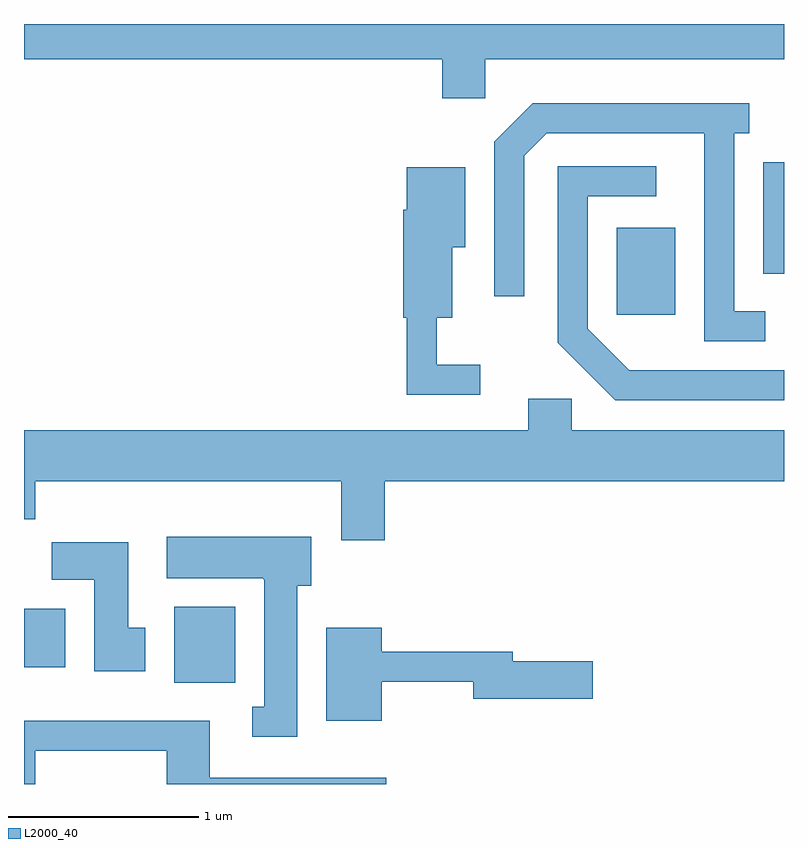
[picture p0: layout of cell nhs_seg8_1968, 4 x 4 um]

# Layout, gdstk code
import gdstk
lib = gdstk.Library(unit=1e-6, precision=1e-09)
def R(c, l, rs):  # rectangles x0, y0, x1, y1
    for r in rs: c.add(gdstk.rectangle(r[:2], r[2:], *l))
def P(c, l, *ps):  # polygons
    for p in ps: c.add(gdstk.Polygon(p, *l))
L2000_40 = (2000, 40)

nhs_seg8_1968 = lib.new_cell('nhs_seg8_1968')
R(nhs_seg8_1968, L2000_40, [(244.401,1870.876,244.724,1871.274), (243.611,1870.956,243.829,1871.264), (246.731,1872.811,247.039,1873.269), (247.501,1873.028,247.611,1873.614)])
P(nhs_seg8_1968, L2000_40, [(246.039,1874.156),(247.611,1874.156),(247.611,1874.342),(243.611,1874.342),(243.611,1874.156),(245.811,1874.156),(245.811,1873.951),(246.039,1873.951)],
  [(247.513,1872.829),(247.349,1872.829),(247.349,1873.766),(247.428,1873.766),(247.428,1873.924),(246.289,1873.924),(246.086,1873.722),(246.086,1872.908),(246.244,1872.908),(246.244,1873.649),(246.362,1873.766),(247.191,1873.766),(247.191,1872.671),(247.513,1872.671)],
  [(247.611,1872.519),(246.797,1872.519),(246.579,1872.737),(246.579,1873.436),(246.938,1873.436),(246.938,1873.594),(246.421,1873.594),(246.421,1872.664),(246.724,1872.361),(247.611,1872.361)],
  [(246.013,1872.549),(245.784,1872.549),(245.784,1872.796),(245.864,1872.796),(245.864,1873.166),(245.934,1873.166),(245.934,1873.589),(245.626,1873.589),(245.626,1873.364),(245.606,1873.364),(245.606,1872.796),(245.626,1872.796),(245.626,1872.391),(246.013,1872.391)],
  [(245.509,1871.936),(247.611,1871.936),(247.611,1872.204),(246.494,1872.204),(246.494,1872.369),(246.266,1872.369),(246.266,1872.204),(243.611,1872.204),(243.611,1871.736),(243.669,1871.736),(243.669,1871.936),(245.281,1871.936),(245.281,1871.626),(245.509,1871.626)],
  [(245.049,1871.386),(245.124,1871.386),(245.124,1871.644),(244.361,1871.644),(244.361,1871.426),(244.87,1871.426),(244.87,1871.42),(244.876,1871.42),(244.876,1870.749),(244.813,1870.749),(244.813,1870.591),(245.049,1870.591)],
  [(244.249,1871.164),(244.159,1871.164),(244.159,1871.614),(243.756,1871.614),(243.756,1871.416),(243.981,1871.416),(243.981,1870.936),(244.249,1870.936)],
  [(245.494,1870.881),(245.976,1870.881),(245.976,1870.791),(246.604,1870.791),(246.604,1870.989),(246.184,1870.989),(246.184,1871.039),(245.494,1871.039),(245.494,1871.164),(245.201,1871.164),(245.201,1870.676),(245.494,1870.676)],
  [(243.669,1870.516),(244.361,1870.516),(244.361,1870.342),(245.518,1870.342),(245.518,1870.374),(244.589,1870.374),(244.589,1870.674),(243.611,1870.674),(243.611,1870.342),(243.669,1870.342)])

lib.write_gds('nhs_seg8_1968.gds')
